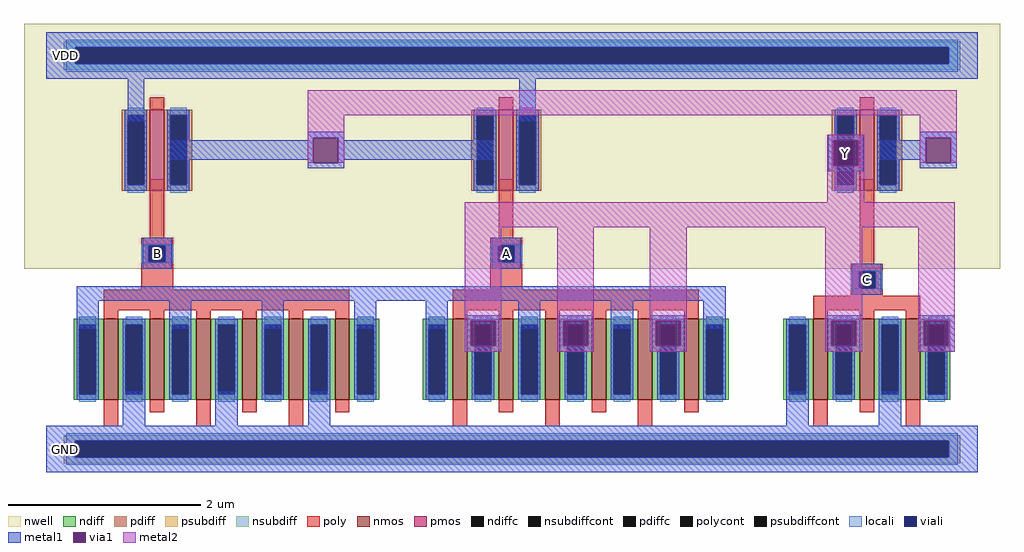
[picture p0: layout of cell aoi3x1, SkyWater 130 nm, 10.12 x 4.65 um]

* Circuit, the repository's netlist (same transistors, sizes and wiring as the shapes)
** sch_path: /foss/designs/aoi3x1.sch
.subckt aoi3x1 VDD GND A B C Y
*.PININFO VDD:B GND:B A:I B:I C:I Y:O
XM2 net2 A VDD VDD sky130_fd_pr__pfet_01v8 L=0.15 W=0.84 nf=1
XM3 net2 B VDD VDD sky130_fd_pr__pfet_01v8 L=0.15 W=0.84 nf=1
XM4 Y A net1 GND sky130_fd_pr__nfet_01v8 L=0.15 W=5.04 nf=6
XM5 Y C GND GND sky130_fd_pr__nfet_01v8 L=0.15 W=2.52 nf=3
XM1 Y C net2 VDD sky130_fd_pr__pfet_01v8 L=0.15 W=0.84 nf=1
XM6 net1 B GND GND sky130_fd_pr__nfet_01v8 L=0.15 W=5.04 nf=6
.ends

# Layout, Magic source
magic
tech sky130A
magscale 1 2
<< nwell >>
rect -46 374 1978 882
<< psubdiff >>
rect 36 17 1896 29
rect 36 -17 60 17
rect 1872 -17 1896 17
rect 36 -29 1896 -17
<< nsubdiff >>
rect 36 833 1896 845
rect 36 799 60 833
rect 1872 799 1896 833
rect 36 787 1896 799
<< psubdiffcont >>
rect 60 -17 1872 17
<< nsubdiffcont >>
rect 60 799 1872 833
<< poly >>
rect 215 438 245 560
rect 939 438 969 560
rect 197 422 263 438
rect 197 388 213 422
rect 247 388 263 422
rect 197 330 263 388
rect 921 422 987 438
rect 921 388 937 422
rect 971 388 987 422
rect 921 330 987 388
rect 1687 384 1717 560
rect 1669 368 1735 384
rect 1669 334 1685 368
rect 1719 334 1735 368
rect 119 288 629 330
rect 843 288 1353 330
rect 1669 318 1735 334
rect 1591 288 1813 318
<< polycont >>
rect 213 388 247 422
rect 937 388 971 422
rect 1685 334 1719 368
<< locali >>
rect 42 833 1890 849
rect 42 799 60 833
rect 1872 799 1890 833
rect 42 783 1890 799
rect 197 422 263 424
rect 197 388 213 422
rect 247 388 263 422
rect 197 386 263 388
rect 921 422 987 424
rect 921 388 937 422
rect 971 388 987 422
rect 921 386 987 388
rect 1669 368 1735 370
rect 1669 334 1685 368
rect 1719 334 1735 368
rect 1669 332 1735 334
rect 42 17 1890 33
rect 42 -17 60 17
rect 1872 -17 1890 17
rect 42 -33 1890 -17
<< viali >>
rect 60 799 1872 833
rect 213 388 247 422
rect 937 388 971 422
rect 1685 334 1719 368
rect 60 -17 1872 17
<< metal1 >>
rect 0 833 1932 864
rect 0 799 60 833
rect 1872 799 1932 833
rect 0 768 1932 799
rect 169 680 203 768
rect 981 680 1015 768
rect 542 646 618 658
rect 542 640 554 646
rect 251 600 554 640
rect 542 594 554 600
rect 606 640 618 646
rect 1622 640 1694 652
rect 1812 646 1888 658
rect 1812 640 1824 646
rect 606 600 933 640
rect 606 594 618 600
rect 542 582 618 594
rect 1622 588 1632 640
rect 1684 588 1694 640
rect 1723 600 1824 640
rect 1622 576 1694 588
rect 1812 594 1824 600
rect 1876 594 1888 646
rect 1812 582 1888 594
rect 200 422 260 438
rect 200 388 213 422
rect 247 388 260 422
rect 200 374 260 388
rect 924 422 984 438
rect 924 388 937 422
rect 971 388 984 422
rect 924 374 984 388
rect 1672 368 1732 384
rect 63 308 1409 338
rect 1672 334 1685 368
rect 1719 334 1732 368
rect 1672 320 1732 334
rect 63 250 109 308
rect 255 250 301 308
rect 447 250 493 308
rect 639 250 685 308
rect 787 250 833 308
rect 868 266 944 278
rect 868 214 880 266
rect 932 214 944 266
rect 979 250 1025 308
rect 1060 266 1136 278
rect 868 202 944 214
rect 1060 214 1072 266
rect 1124 214 1136 266
rect 1171 250 1217 308
rect 1252 266 1328 278
rect 1060 202 1136 214
rect 1252 214 1264 266
rect 1316 214 1328 266
rect 1363 250 1409 308
rect 1616 266 1692 278
rect 1252 202 1328 214
rect 1616 214 1628 266
rect 1680 214 1692 266
rect 1616 202 1692 214
rect 1808 266 1884 278
rect 1808 214 1820 266
rect 1872 214 1884 266
rect 1808 202 1884 214
rect 159 48 205 120
rect 351 48 397 120
rect 543 48 589 120
rect 1535 48 1581 120
rect 1727 48 1773 120
rect 0 17 1932 48
rect 0 -17 60 17
rect 1872 -17 1932 17
rect 0 -48 1932 -17
<< via1 >>
rect 554 594 606 646
rect 1632 588 1684 640
rect 1824 594 1876 646
rect 880 214 932 266
rect 1072 214 1124 266
rect 1264 214 1316 266
rect 1628 214 1680 266
rect 1820 214 1872 266
<< metal2 >>
rect 542 692 1888 744
rect 542 646 618 692
rect 542 594 554 646
rect 606 594 618 646
rect 1620 640 1696 652
rect 1620 588 1632 640
rect 1684 588 1696 640
rect 1812 646 1888 692
rect 1812 594 1824 646
rect 1876 594 1888 646
rect 1620 512 1696 588
rect 868 460 1884 512
rect 868 266 944 460
rect 868 214 880 266
rect 932 214 944 266
rect 868 202 944 214
rect 1060 266 1136 460
rect 1060 214 1072 266
rect 1124 214 1136 266
rect 1060 202 1136 214
rect 1252 266 1328 460
rect 1252 214 1264 266
rect 1316 214 1328 266
rect 1252 202 1328 214
rect 1616 266 1692 460
rect 1616 214 1628 266
rect 1680 214 1692 266
rect 1616 202 1692 214
rect 1808 266 1884 460
rect 1808 214 1820 266
rect 1872 214 1884 266
rect 1808 202 1884 214
use sky130_fd_pr__nfet_01v8_6WXBLA  xn4
transform 1 0 1098 0 1 186
box -317 -139 317 139
use sky130_fd_pr__nfet_01v8_RPKUUV  xn5
transform 1 0 1702 0 1 186
box -173 -139 173 139
use sky130_fd_pr__nfet_01v8_6WXBLA  xn6
transform 1 0 374 0 1 186
box -317 -139 317 139
use sky130_fd_pr__pfet_01v8_W5J8BK  xp1
transform 1 0 1702 0 1 620
box -109 -146 109 146
use sky130_fd_pr__pfet_01v8_W5J8BK  xp2
transform 1 0 954 0 1 620
box -109 -146 109 146
use sky130_fd_pr__pfet_01v8_W5J8BK  xp3
transform 1 0 230 0 1 620
box -109 -146 109 146
<< labels >>
rlabel metal1 200 374 260 438 0 B
port 1 nsew
rlabel metal1 924 374 984 438 0 A
port 2 nsew
rlabel metal1 1672 320 1732 384 0 C
port 3 nsew
rlabel metal1 1622 576 1694 652 0 Y
port 4 nsew
rlabel metal1 10 780 70 852 0 VDD
port 5 nsew
rlabel metal1 10 -36 70 36 0 GND
port 6 nsew
<< properties >>
string FIXED_BBOX 0 0 1932 816
<< end >>

# cell sky130_fd_pr__nfet_01v8_6WXBLA: kit device sky130_fd_pr__nfet_01v8, w 0.84 l 0.15 m 1 nf 6 diffcov 100 polycov 100 guard 0 glc 1 grc 1 gtc 1 gbc 1 tbcov 100 rlcov 100 topc 0 botc 0 poverlap 0 doverlap 1 lmin 0.15 wmin 0.42 class mosfet compatible {sky130_fd_pr__nfet_01v8 sky130_fd_pr__nfet_01v8_lvt sky130_fd_bs_flash__special_sonosfet_star sky130_fd_pr__nfet_g5v0d10v5 sky130_fd_pr__nfet_05v0_nvt sky130_fd_pr__nfet_03v3_nvt} full_metal 1 conn_gates 0 viasrc 100 viadrn 100 viagate 100 viagb 0 viagr 0 viagl 0 viagt 0 doports 1

# cell sky130_fd_pr__nfet_01v8_RPKUUV: kit device sky130_fd_pr__nfet_01v8, w 0.84 l 0.15 m 1 nf 3 diffcov 100 polycov 100 guard 0 glc 1 grc 1 gtc 1 gbc 1 tbcov 100 rlcov 100 topc 0 botc 0 poverlap 0 doverlap 1 lmin 0.15 wmin 0.42 class mosfet compatible {sky130_fd_pr__nfet_01v8 sky130_fd_pr__nfet_01v8_lvt sky130_fd_bs_flash__special_sonosfet_star sky130_fd_pr__nfet_g5v0d10v5 sky130_fd_pr__nfet_05v0_nvt sky130_fd_pr__nfet_03v3_nvt} full_metal 1 conn_gates 0 viasrc 100 viadrn 100 viagate 100 viagb 0 viagr 0 viagl 0 viagt 0 doports 1

# cell sky130_fd_pr__pfet_01v8_W5J8BK: kit device sky130_fd_pr__pfet_01v8, w 0.84 l 0.15 m 1 nf 1 diffcov 100 polycov 100 guard 0 glc 1 grc 1 gtc 1 gbc 1 tbcov 100 rlcov 100 topc 0 botc 0 poverlap 0 doverlap 1 lmin 0.15 wmin 0.42 class mosfet compatible {sky130_fd_pr__pfet_01v8 sky130_fd_pr__pfet_01v8_lvt sky130_fd_pr__pfet_01v8_hvt sky130_fd_pr__pfet_g5v0d10v5} full_metal 1 conn_gates 0 viasrc 100 viadrn 100 viagate 100 viagb 0 viagr 0 viagl 0 viagt 0 doports 1
